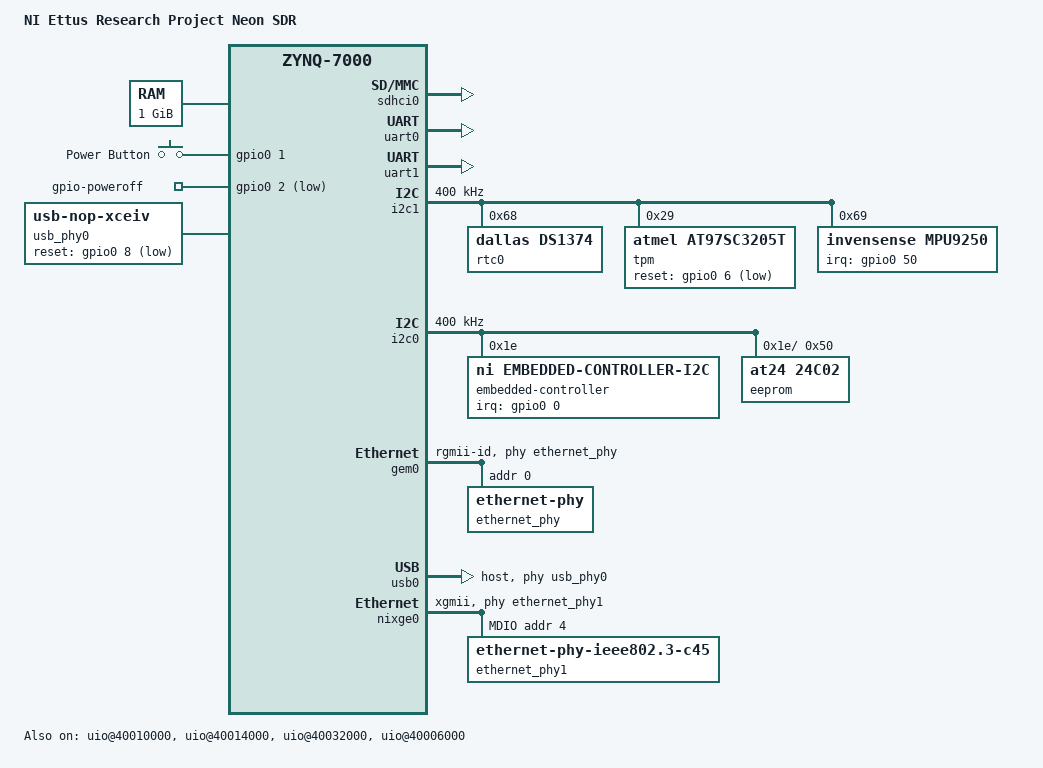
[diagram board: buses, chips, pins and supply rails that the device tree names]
// SPDX-License-Identifier: (GPL-2.0 OR X11)
/*
 * National Instruments Ettus Research Project Neon Rev1
 *
 * Copyright (c) 2018 National Instruments Corp.
 *
 */

/dts-v1/;

#include <dt-bindings/input/input.h>
#include <dt-bindings/interrupt-controller/irq.h>
#include <dt-bindings/gpio/gpio.h>
#include "zynq-7000.dtsi"

/ {
	model = "NI Ettus Research Project Neon SDR";
	compatible = "ettus,zynq-neon-rev1", "xlnx,zynq-7000";

	aliases {
		ethernet0 = &gem0;
		serial0 = &uart0;
		serial1 = &uart1;
		spi0 = &spi0;
		i2c0 = &i2c0;
		i2c1 = &i2c1;
		i2c2 = &tun;
	};

	memory {
		device_type = "memory";
		reg = <0x0 0x40000000>;
	};

	chosen {
		stdout-path = "serial0:115200n8";
	};

	gpio-keys {
		compatible = "gpio-keys";
		#address-cells = <1>;
		#size-cells = <0>;

		power-button {
			label = "Power Button";
			linux,code = <KEY_POWER>;
			gpios = <&gpio0 1 GPIO_ACTIVE_HIGH>;
		};
	};

	gpio-poweroff {
		compatible = "gpio-poweroff";
		gpios = <&gpio0 2 GPIO_ACTIVE_LOW>;
	};

	usb_phy0: phy0 {
		compatible = "usb-nop-xceiv";
		#phy-cells = <0>;
		reset-gpios = <&gpio0 8 GPIO_ACTIVE_LOW>;
	};

};

&cpu0 {
	operating-points = <1000000 1000000>;
};

&sdhci0 {
	status = "okay";
};

&uart0 {
	status = "okay";
};

&uart1 {
	status = "okay";
};

/* we use the ARM global timer */
&ttc0 {
	status = "disabled";
};

/* we use the ARM global timer */
&ttc1 {
	status = "disabled";
};

&i2c1 {
	status = "okay";
	clock-frequency = <400000>;

	rtc0: rtc@68 {
		compatible = "dallas,ds1374";
		reg = <0x68>;
		reset-on-timeout;
		trickle-resistor-ohms = <250>;
		trickle-diode-disable;
		timeout-sec = <10>;
	};

	tpm: tpm@29 {
		compatible = "atmel,at97sc3205t", "atmel,at97sc3204t";
		reg = <0x29>;
		reset-gpios = <&gpio0 6 GPIO_ACTIVE_LOW>;
	};

	mpu9250@69 {
		compatible = "invensense,mpu9250";
		reg = <0x69>;
		interrupt-parent = <&gpio0>;
		interrupts = <50 IRQ_TYPE_EDGE_RISING>;
		/* TOOO: Check edge vs level interrupt */
	};
};

&i2c0 {
	status = "okay";
	clock-frequency = <400000>;

	embedded-controller@1e {
		status = "okay";
		reg = <0x1e>;
		compatible = "ni,embedded-controller-i2c",
			     "google,cros-ec-i2c";
		interrupts = <0 IRQ_TYPE_EDGE_FALLING>;
		interrupt-parent = <&gpio0>;
		google,has-vbc-nvram;

		wakeup-source;
               thermal: thermal {
                       compatible = "google,cros-ec-thermal";
               };

		tun: i2c-tunnel {
			compatible = "google,cros-ec-i2c-tunnel";
			#address-cells = <1>;
			#size-cells = <0>;
			google,remote-bus = <0>;
			clock-frequency = <100000>;

			eeprom@50 {
				compatible = "at24,24c02";
				reg = <0x50>;
				#address-cells = <1>;
				#size-cells = <0>;
				read-only;

				eth0_addr: eth-addr@24 {
					reg = <0x24 0x6>;
				};

				eth1_addr: eth-addr@2c {
					reg = <0x2c 0x6>;
				};
			};
		};
	};
};

&gpio0 {
	status = "okay";
};

&clkc {
	ps-clk-frequency = <33333333>;
	fclk-enable = <0xf>;
};

/* Disabled, because runtime instantiation of cs-gpio property
 * does not work if driver is instantiated
 */
&spi0 {
	status = "disabled";
};

/* Disabled, because runtime instantiation of cs-gpio property
 * does not work if driver is instantiated
 */
&spi1 {
	status = "disabled";
};

&gem0 {
	status = "okay";
	phy-mode = "rgmii-id";
	phy-handle = <&ethernet_phy>;

	ethernet_phy: ethernet-phy@0 {
		reg = <0>;
		device_type = "ethernet-phy";
	};
};

&usb0 {
	status = "okay";
	dr_mode = "host";
	usb-phy = <&usb_phy0>;
};

&amba {
	ocm: sram@fffc0000 {
		compatible = "mmio-sram";
		reg = <0xfffc0000 0x10000>;
	};
};


&fpga_full {
	uio@40010000 {
		compatible = "usrp-uio";
		reg = <0x40010000 0x2000>;
		reg-names = "mboard-regs";
		status = "okay";
	};

	uio@40014000 {
		compatible = "usrp-uio";
		reg = <0x40014000 0x4000>;
		reg-names = "dboard-regs";
		status = "okay";
	};

	// nixge_internal: ethernet@40020000 {
	// 	#address-cells = <1>;
	// 	#size-cells = <1>;
	// 	compatible = "ni,xge-enet-3.00";
	// 	reg = <0x40020000 0x4000
	// 	       0x40030000 0x2000>;
	// 	reg-names = "dma", "ctrl";
	// 		clocks = <&clkc 15>;
	// 		clock-names = "bus_clk";

	// 	interrupts = <0 31 4>, <0 32 4>;
	// 	interrupt-names = "rx", "tx";
	// 	interrupt-parent = <&intc>;
	// 	status = "okay";

	// 	phy-mode = "internal";
	// 	local-mac-address = <0x00 0x01 0x02 0x03 0x04 0x05>;

	// 	fixed-link {
	// 		speed = <1000>;
	// 		full-duplex;
	// 	};
	// };

	uio@40032000 {
		compatible = "usrp-uio";
		reg = <0x40032000 0x2000>;
		reg-names = "misc-enet-int-regs";
		status = "okay";
	};

	nixge0: ethernet@40000000 {
		compatible = "ni,xge-enet-2.00";
		reg = <0x40000000 0x6000>; //FIXME

		clocks = <&clkc 15>;
		clock-names = "bus_clk";

		nvmem-cells = <&eth1_addr>;
		nvmem-cell-names = "address";

		interrupts = <0 29 4>, <0 30 4>;
		interrupt-names = "rx", "tx";
		interrupt-parent = <&intc>;
		status = "okay";

		phy-mode = "xgmii";
		phy-handle = <&ethernet_phy1>;

		mdio {
			ethernet_phy1: ethernet-phy@4 {
				compatible = "ethernet-phy-ieee802.3-c45";
				reg = <4>;
			};
		};
	};

	uio@40006000 {
		compatible = "usrp-uio";
		reg = <0x40006000 0x2000>; //FIXME
		reg-names = "misc-enet-regs";
		status = "okay";
	};
};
